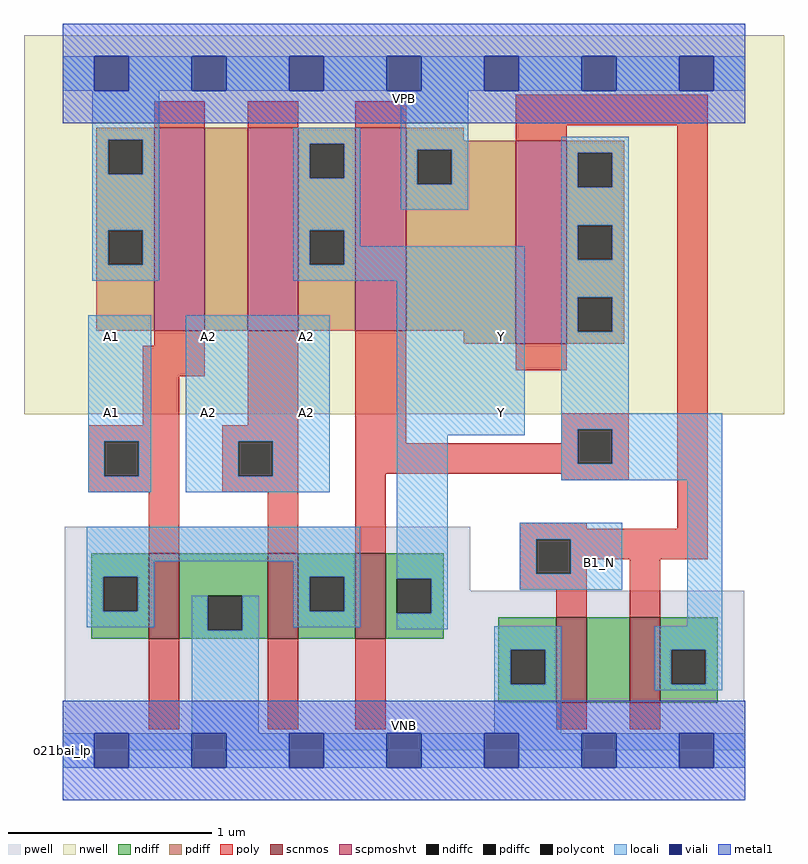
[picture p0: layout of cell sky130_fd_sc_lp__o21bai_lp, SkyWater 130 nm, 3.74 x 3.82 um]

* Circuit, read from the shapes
.subckt sky130_fd_sc_lp__o21bai_lp A1 A2 B1_N VGND VNB VPB VPWR Y
XM1 VGND A1 n1 VNB sky130_fd_pr__nfet_01v8 w=0.42 l=0.15
XM2 n1 A2 VGND VNB sky130_fd_pr__nfet_01v8 w=0.42 l=0.15
XM3 Y n2 n1 VNB sky130_fd_pr__nfet_01v8 w=0.42 l=0.15
XM4 n3 B1_N VGND VNB sky130_fd_pr__nfet_01v8 w=0.42 l=0.15
XM5 n2 B1_N n3 VNB sky130_fd_pr__nfet_01v8 w=0.42 l=0.15
XM6 n4 A1 VPWR VPB sky130_fd_pr__pfet_01v8_hvt w=1 l=0.25
XM7 Y A2 n4 VPB sky130_fd_pr__pfet_01v8_hvt w=1 l=0.25
XM8 VPWR n2 Y VPB sky130_fd_pr__pfet_01v8_hvt w=1 l=0.25
XM9 n2 B1_N VPWR VPB sky130_fd_pr__pfet_01v8_hvt w=1 l=0.25
.ends

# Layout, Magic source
magic
tech sky130A
magscale 1 2
<< nwell >>
rect -38 331 710 704
<< pwell >>
rect 2 157 401 220
rect 2 49 671 157
rect 0 0 672 49
<< scnmos >>
rect 85 110 115 194
rect 202 110 232 194
rect 288 110 318 194
rect 486 47 516 131
rect 558 47 588 131
<< scpmoshvt >>
rect 90 413 140 613
rect 182 413 232 613
rect 288 413 338 613
rect 446 400 496 600
<< ndiff >>
rect 28 171 85 194
rect 28 137 40 171
rect 74 137 85 171
rect 28 110 85 137
rect 115 152 202 194
rect 115 118 143 152
rect 177 118 202 152
rect 115 110 202 118
rect 232 171 288 194
rect 232 137 243 171
rect 277 137 288 171
rect 232 110 288 137
rect 318 169 375 194
rect 318 135 329 169
rect 363 135 375 169
rect 318 110 375 135
rect 429 99 486 131
rect 429 65 441 99
rect 475 65 486 99
rect 429 47 486 65
rect 516 47 558 131
rect 588 99 645 131
rect 588 65 599 99
rect 633 65 645 99
rect 588 47 645 65
<< pdiff >>
rect 33 601 90 613
rect 33 567 45 601
rect 79 567 90 601
rect 33 512 90 567
rect 33 478 45 512
rect 79 478 90 512
rect 33 413 90 478
rect 140 413 182 613
rect 232 597 288 613
rect 232 563 243 597
rect 277 563 288 597
rect 232 512 288 563
rect 232 478 243 512
rect 277 478 288 512
rect 232 413 288 478
rect 338 600 395 613
rect 338 591 446 600
rect 338 557 349 591
rect 383 557 446 591
rect 338 413 446 557
rect 395 400 446 413
rect 496 588 553 600
rect 496 554 507 588
rect 541 554 553 588
rect 496 517 553 554
rect 496 483 507 517
rect 541 483 553 517
rect 496 446 553 483
rect 496 412 507 446
rect 541 412 553 446
rect 496 400 553 412
<< ndiffc >>
rect 40 137 74 171
rect 143 118 177 152
rect 243 137 277 171
rect 329 135 363 169
rect 441 65 475 99
rect 599 65 633 99
<< pdiffc >>
rect 45 567 79 601
rect 45 478 79 512
rect 243 563 277 597
rect 243 478 277 512
rect 349 557 383 591
rect 507 554 541 588
rect 507 483 541 517
rect 507 412 541 446
<< poly >>
rect 90 613 140 639
rect 182 613 232 639
rect 288 613 338 639
rect 446 615 635 645
rect 446 600 496 615
rect 90 398 140 413
rect 79 368 140 398
rect 79 320 115 368
rect 182 320 232 413
rect 25 304 115 320
rect 25 270 41 304
rect 75 270 115 304
rect 25 254 115 270
rect 157 304 232 320
rect 157 270 173 304
rect 207 270 232 304
rect 157 254 232 270
rect 85 194 115 254
rect 202 194 232 254
rect 288 302 338 413
rect 446 374 496 400
rect 491 316 557 332
rect 491 302 507 316
rect 288 282 507 302
rect 541 282 557 316
rect 288 272 557 282
rect 288 194 318 272
rect 491 266 557 272
rect 450 218 516 224
rect 605 218 635 615
rect 450 208 635 218
rect 450 174 466 208
rect 500 188 635 208
rect 500 174 516 188
rect 450 158 516 174
rect 486 131 516 158
rect 558 131 588 188
rect 85 21 115 110
rect 202 21 232 110
rect 288 21 318 110
rect 486 21 516 47
rect 558 21 588 47
<< polycont >>
rect 41 270 75 304
rect 173 270 207 304
rect 507 282 541 316
rect 466 174 500 208
<< locali >>
rect 0 649 31 683
rect 65 649 127 683
rect 161 649 223 683
rect 257 649 319 683
rect 353 649 415 683
rect 449 649 511 683
rect 545 649 607 683
rect 641 649 672 683
rect 29 601 95 649
rect 29 567 45 601
rect 79 567 95 601
rect 29 512 95 567
rect 29 478 45 512
rect 79 478 95 512
rect 29 462 95 478
rect 227 597 293 613
rect 227 563 243 597
rect 277 563 293 597
rect 227 512 293 563
rect 333 591 399 649
rect 333 557 349 591
rect 383 557 399 591
rect 333 532 399 557
rect 491 588 557 604
rect 491 554 507 588
rect 541 554 557 588
rect 227 478 243 512
rect 277 496 293 512
rect 491 517 557 554
rect 277 478 455 496
rect 227 462 455 478
rect 25 304 87 428
rect 25 270 41 304
rect 75 270 87 304
rect 25 254 87 270
rect 121 304 263 428
rect 121 270 173 304
rect 207 270 263 304
rect 121 254 263 270
rect 329 310 455 462
rect 491 483 507 517
rect 541 483 557 517
rect 491 446 557 483
rect 491 412 507 446
rect 541 412 557 446
rect 491 332 557 412
rect 491 316 649 332
rect 24 186 293 220
rect 24 171 90 186
rect 24 137 40 171
rect 74 137 90 171
rect 227 171 293 186
rect 24 121 90 137
rect 127 118 143 152
rect 177 118 193 152
rect 227 137 243 171
rect 277 137 293 171
rect 227 121 293 137
rect 329 169 379 310
rect 491 282 507 316
rect 541 282 649 316
rect 491 266 649 282
rect 363 135 379 169
rect 450 208 551 224
rect 450 174 466 208
rect 500 174 551 208
rect 450 158 551 174
rect 329 119 379 135
rect 615 122 649 266
rect 127 17 193 118
rect 425 99 491 122
rect 425 65 441 99
rect 475 65 491 99
rect 425 17 491 65
rect 583 99 649 122
rect 583 65 599 99
rect 633 65 649 99
rect 583 59 649 65
rect 0 -17 31 17
rect 65 -17 127 17
rect 161 -17 223 17
rect 257 -17 319 17
rect 353 -17 415 17
rect 449 -17 511 17
rect 545 -17 607 17
rect 641 -17 672 17
<< viali >>
rect 31 649 65 683
rect 127 649 161 683
rect 223 649 257 683
rect 319 649 353 683
rect 415 649 449 683
rect 511 649 545 683
rect 607 649 641 683
rect 31 -17 65 17
rect 127 -17 161 17
rect 223 -17 257 17
rect 319 -17 353 17
rect 415 -17 449 17
rect 511 -17 545 17
rect 607 -17 641 17
<< metal1 >>
rect 0 683 672 715
rect 0 649 31 683
rect 65 649 127 683
rect 161 649 223 683
rect 257 649 319 683
rect 353 649 415 683
rect 449 649 511 683
rect 545 649 607 683
rect 641 649 672 683
rect 0 617 672 649
rect 0 17 672 49
rect 0 -17 31 17
rect 65 -17 127 17
rect 161 -17 223 17
rect 257 -17 319 17
rect 353 -17 415 17
rect 449 -17 511 17
rect 545 -17 607 17
rect 641 -17 672 17
rect 0 -49 672 -17
<< labels >>
flabel pwell s 0 0 672 49 0 FreeSans 200 0 0 0 VNB
port 5 nsew ground bidirectional
flabel nwell s 0 617 672 666 0 FreeSans 200 0 0 0 VPB
port 6 nsew power bidirectional
rlabel comment s 0 0 0 0 4 o21bai_lp
flabel metal1 s 0 0 672 49 0 FreeSans 340 0 0 0 VGND
port 4 nsew ground bidirectional
flabel metal1 s 0 617 672 666 0 FreeSans 340 0 0 0 VPWR
port 7 nsew power bidirectional
flabel locali s 511 168 545 202 0 FreeSans 340 0 0 0 B1_N
port 3 nsew signal input
flabel locali s 415 316 449 350 0 FreeSans 340 0 0 0 Y
port 8 nsew signal output
flabel locali s 415 390 449 424 0 FreeSans 340 0 0 0 Y
port 8 nsew signal output
flabel locali s 127 316 161 350 0 FreeSans 340 0 0 0 A2
port 2 nsew signal input
flabel locali s 31 316 65 350 0 FreeSans 340 0 0 0 A1
port 1 nsew signal input
flabel locali s 223 316 257 350 0 FreeSans 340 0 0 0 A2
port 2 nsew signal input
flabel locali s 223 390 257 424 0 FreeSans 340 0 0 0 A2
port 2 nsew signal input
flabel locali s 127 390 161 424 0 FreeSans 340 0 0 0 A2
port 2 nsew signal input
flabel locali s 31 390 65 424 0 FreeSans 340 0 0 0 A1
port 1 nsew signal input
<< properties >>
string LEFsite unit
string LEFclass CORE
string FIXED_BBOX 0 0 672 666
string GDS_FILE $PDKPATH/libs.ref/sky130_fd_sc_lp/gds/sky130_fd_sc_lp.gds
string LEFsymmetry X Y R90
string GDS_END 5162660
string GDS_START 5156676
<< end >>
